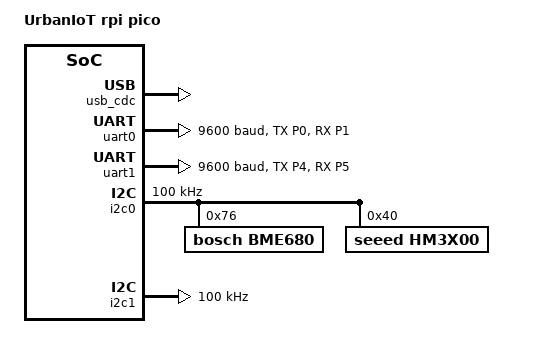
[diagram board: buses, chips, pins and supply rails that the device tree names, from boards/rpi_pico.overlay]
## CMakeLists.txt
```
#-------------------------------------------------------------------------------
# UrbanIoT Zephyr firmware
#
# SPDX-License-Identifier: Apache-2.0

cmake_minimum_required(VERSION 3.20.0)

set(BOARD rpi_pico)

find_package(Zephyr REQUIRED HINTS $ENV{ZEPHYR_BASE})

project(app LANGUAGES C VERSION 1.0.0)

configure_file(app_version.h.in ${CMAKE_BINARY_DIR}/app/include/app_version.h)
target_include_directories(app PRIVATE ${CMAKE_BINARY_DIR}/app/include src)

add_subdirectory(src/lora)
add_subdirectory(src/gps)

file(GLOB app_src src/*.c)
target_sources(app PRIVATE ${app_src})
```

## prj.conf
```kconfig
# SPDX-License-Identifier: Apache-2.0
#
# This file contains selected Kconfig options for the application.

# Logging
CONFIG_LOG=y
CONFIG_CONSOLE=y

# Set custom app log level
CONFIG_APP_LOG_LEVEL_DBG=y

# Debugger
# CONFIG_DEBUG=y
# CONFIG_THREAD_MONITOR=y
# CONFIG_DEBUG_THREAD_INFO=y
# CONFIG_THREAD_STACK_INFO=y
# CONFIG_DEBUG_OPTIMIZATIONS=y

# GPIO
CONFIG_GPIO=y

# Sensors
CONFIG_SENSOR=y
CONFIG_I2C=y

CONFIG_SERIAL=y
CONFIG_UART_INTERRUPT_DRIVEN=y

CONFIG_MINMEA=y

CONFIG_HEAP_MEM_POOL_SIZE=256
```

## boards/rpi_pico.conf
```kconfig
# SPDX-License-Identifier: Apache-2.0

# Enable USB stack
CONFIG_USB_DEVICE_STACK=y

# Enable USB Initialize at boot
CONFIG_USB_DEVICE_INITIALIZE_AT_BOOT=y

# USB device descriptors
CONFIG_USB_DEVICE_VID=0x2e8a
CONFIG_USB_DEVICE_PID=0x000a
CONFIG_USB_DEVICE_PRODUCT="Pico"
CONFIG_USB_DEVICE_MANUFACTURER="Raspberry Pi"

# USB configuration descriptors
# To avoid draining the tablet's battery. PicoDRO is designed as a self-powered USB device.
# To do so, D1 is removed from the Raspberry Pi Pico and power is supplied from the VSYS pin.
# That's why, when using the PicoDRO hardware, it should be set as a self-powered USB device.

# Set to "n" for bus-powered devices (powered from the USB host) like the Raspberry Pi Pico.
# Set to "y" for self-powered devices (powered from an external power supply) like PicoDRO hardware.
CONFIG_USB_SELF_POWERED=n

# Depending on your hardware Maximum power consumption needs to be set.
# Set to "125" (250 mA) for the Raspberry Pi Pico (if there is no other external circuitry).
# Set to "1" (2 mA) for the PicoDRO hardware

# Maximum power consumption in 2 mA units
# CONFIG_USB_MAX_POWER=125

# Enable DTR line control for logging when using USB CDC ACM.
CONFIG_UART_LINE_CTRL=y

# Console drivers
CONFIG_CONSOLE=y

# Set USB log level
CONFIG_USB_DRIVER_LOG_LEVEL_ERR=y

# Even before the USB serial port is opened at the host, log messages are pushed to the log buffer, then pushed to the USB CDC ACM ring buffer.
# This causes the ring buffer to overflow, and as a result, it adds a new log message saying the "Ring buffer full, drain buffer".
# It creates an endless loop that reproduces the same log message. This causes connection problems, like preventing the port from opening.
# Ring buffer full, drain buffer" log message still exists even if DTR line control is enabled. That's why we set the log level to error.
# Set USB CDC ACM log level
CONFIG_USB_CDC_ACM_LOG_LEVEL_ERR=y
```

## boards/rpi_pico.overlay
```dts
// SPDX-License-Identifier: Apache-2.0

// #include <zephyr/dt-bindings/gpio/gpio.h>
// #include <zephyr/dt-bindings/i2c/i2c.h>
// #include <zephyr/dt-bindings/led/led.h>
// #include <zephyr/dt-bindings/usb/usb.h>
// #include <zephyr/dt-bindings/pinctrl/rpi-pico-rp2040-pinctrl.h>
//zephyr/dts/bindings/serial/raspberrypi,pico-uart.yaml

/ {
	model = "UrbanIoT rpi pico";
	compatible = "raspberrypi,pico";
	
	chosen {
		zephyr,console = &usb_cdc;
		// zephyr,shell-uart = &usb_cdc;
	};

	aliases {
        gps-uart = &uart0;
        lora-uart = &uart1;
	};
};

&pinctrl {

    uart0_default: uart0_default {
		group1 {
			pinmux = <UART0_TX_P0>;
		};
		group2 {
			pinmux = <UART0_RX_P1>;
			input-enable;
		};
	};

	uart1_default: uart1_default {
		group1 {
			pinmux = <UART1_TX_P4>;
		};
		group2 {
			pinmux = <UART1_RX_P5>;
			input-enable;
		};
	};

    i2c0_default: i2c0_default {
        group1 {
            pinmux = <I2C0_SDA_P8>, <I2C0_SCL_P9>;
            input-enable;
            input-schmitt-enable;
        };
    };

    i2c1_default: i2c1_default {
        group1 {
            pinmux = <I2C1_SDA_P6>, <I2C1_SCL_P7>;
            input-enable;
            input-schmitt-enable;
        };
    };
};

&zephyr_udc0 {
	usb_cdc: usb_cdc_0 {
		compatible = "zephyr,cdc-acm-uart";
	};
};

&uart0 {
    compatible = "raspberrypi,pico-uart";
	current-speed = <9600>;
	status = "okay";
    pinctrl-0 = <&uart0_default>;
    pinctrl-names = "default";
};

&uart1 {
    compatible = "raspberrypi,pico-uart";
	current-speed = <9600>;
	status = "okay";
    pinctrl-0 = <&uart1_default>;
    pinctrl-names = "default";
};

&i2c0 {
    clock-frequency = <I2C_BITRATE_STANDARD>;
	status = "okay";
	pinctrl-0 = <&i2c0_default>;
	pinctrl-names = "default";
	bme680@76 {
		compatible = "bosch,bme680";
		reg = <0x76>;
	};
	hm3x00@40 {
		compatible = "seeed,hm3x00";
		reg = <0x40>;
	};
};

&i2c1 {
    clock-frequency = <I2C_BITRATE_STANDARD>;
	status = "okay";
	pinctrl-0 = <&i2c1_default>;
	pinctrl-names = "default";
};
```

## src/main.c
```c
/*
 * SPDX-License-Identifier: Apache-2.0
 */

#include <zephyr/kernel.h>
#include <zephyr/device.h>
#include <zephyr/drivers/sensor.h>
#include <zephyr/drivers/uart.h>
#include <zephyr/drivers/gpio.h>
#include <zephyr/logging/log.h>

#include <string.h>

#include <minmea/minmea.h>

#include "lora.h"
#include "gps.h"
#include "app_version.h"

LOG_MODULE_REGISTER(main, CONFIG_APP_LOG_LEVEL);

static struct gps_data gps_data = {};
static uint8_t lora_data[30];

const struct device *particle_sensor_dev = DEVICE_DT_GET_ONE(seeed_hm3x00);
struct sensor_value pm1_0, pm2_5, pm10;

const struct device *env_sensor_dev = DEVICE_DT_GET_ONE(bosch_bme680);
struct sensor_value temp, press, humidity, gas_res;

#define CONSOLE_DEVICE DEVICE_DT_GET(DT_CHOSEN(zephyr_console))
#define USB_CDC_ACM_CHECK DT_NODE_HAS_COMPAT(DT_CHOSEN(zephyr_console), zephyr_cdc_acm_uart)

// Status LED
#define STATUS_LED_NODE DT_ALIAS(led0)

#if !DT_NODE_HAS_STATUS(STATUS_LED_NODE, okay)
#error "Unsupported board: led0 devicetree alias is not defined"
#endif

static const struct gpio_dt_spec led = GPIO_DT_SPEC_GET(STATUS_LED_NODE, gpios);

// LoRa device
#define LORA_UART_NODE DT_ALIAS(lora_uart)

#if !DT_NODE_HAS_STATUS(LORA_UART_NODE, okay)
#error "Unsupported board: lora_uart devicetree alias is not defined"
#endif

static const struct device *const lora_uart_dev = DEVICE_DT_GET(LORA_UART_NODE);

// GPS device
#define GPS_UART_NODE DT_ALIAS(gps_uart)

#if !DT_NODE_HAS_STATUS(GPS_UART_NODE, okay)
#error "Unsupported board: gps_uart devicetree alias is not defined"
#endif

static const struct device *const gps_uart_dev = DEVICE_DT_GET(GPS_UART_NODE);

int main(void)
{
#if (IS_ENABLED(USB_CDC_ACM_CHECK) && IS_ENABLED(CONFIG_LOG))
	const struct device *const console_dev = CONSOLE_DEVICE;
	uint32_t dtr_line = 0;

	while (!dtr_line)
	{
		uart_line_ctrl_get(console_dev, UART_LINE_CTRL_DTR, &dtr_line);
		k_sleep(K_MSEC(100));
	}
#endif

	int ret;

	LOG_INF("UrbanIoT firmware %s", APP_VERSION_STR);

	if (!device_is_ready(led.port))
	{
		LOG_ERR("Led0 %s is not ready!", led.port->name);
		return -ENOTSUP;
	}

	ret = gpio_pin_configure_dt(&led, GPIO_OUTPUT_ACTIVE);
	if (ret < 0)
	{
		LOG_ERR("Can't init status led %i!", ret);
		return -ENODEV;
	};

	if (!device_is_ready(env_sensor_dev))
	{
		LOG_ERR("sensor: device not ready.");
		return -ENODEV;
	}

	if (!device_is_ready(particle_sensor_dev))
	{
		LOG_ERR("sensor: device not ready.");
		return -ENODEV;
	}

	if (lora_init(lora_uart_dev) < 0)
	{
		LOG_ERR("Can't init lora device!");
		return -ENODEV;
	}

	lora_join();

	if (gps_init(gps_uart_dev) < 0)
	{
		LOG_ERR("Can't init gps device!");
		return -ENODEV;
	}

	// if (!device_is_ready(particle_sensor_dev))
	// {
	// 	LOG_ERR("particle sensor: device not ready.");
	// 	return -ENODEV;
	// }

	while (1)
	{
		LOG_INF("Hello World, from Zephyr! %s", CONFIG_BOARD);
		ret = gpio_pin_toggle_dt(&led);

		if (sensor_sample_fetch(env_sensor_dev) == 0)
		{
			sensor_channel_get(env_sensor_dev, SENSOR_CHAN_AMBIENT_TEMP, &temp);
			sensor_channel_get(env_sensor_dev, SENSOR_CHAN_PRESS, &press);
			sensor_channel_get(env_sensor_dev, SENSOR_CHAN_HUMIDITY, &humidity);
			sensor_channel_get(env_sensor_dev, SENSOR_CHAN_GAS_RES, &gas_res);

			LOG_INF("T: %d.%06d°C P: %d.%06dkPa H: %d.%06d% G: %d.%06dohm",
					temp.val1, temp.val2,
					press.val1, press.val2,
					humidity.val1, humidity.val2,
					gas_res.val1, gas_res.val2);
		}
		else
		{
			LOG_ERR("Cant get data from env_sensor_dev");
		}

		if (sensor_sample_fetch(particle_sensor_dev) == 0)
		{
			sensor_channel_get(particle_sensor_dev, SENSOR_CHAN_PM_1_0, &pm1_0);
			sensor_channel_get(particle_sensor_dev, SENSOR_CHAN_PM_2_5, &pm2_5);
			sensor_channel_get(particle_sensor_dev, SENSOR_CHAN_PM_10, &pm10);

			LOG_INF("PM 1.0: %d.%06dug/m3 PM 2.5: %d.%06dug/m3 PM 10: %d.%06d%ug/m3",
					pm1_0.val1, pm1_0.val2,
					pm2_5.val1, pm2_5.val2,
					pm10.val1, pm10.val2);
		}
		else
		{
			LOG_ERR("Cant get data from particle_sensor_dev");
		}

		gps_get_data(&gps_data);

		lora_data[0] = 0x00;
		// lora_data[0] |= 1 << 0; // UV index sensor
		lora_data[0] |= 1 << 1; // Temperature sensor
		lora_data[0] |= 0 << 2; // Pressure sensor
		lora_data[0] |= 1 << 3; // Humidity sensor
		// lora_data[0] |= 0 << 4; // IAQ sensor
		lora_data[0] |= 1 << 5; // dust/particle sensor
		// lora_data[0] |= 0 << 6; // not defined
		// lora_data[0] |= 0 << 7; // not defined

		lora_data[1] = 0x00; // not defined
		lora_data[2] = 0x00; // not defined

		// Battery
		lora_data[3] = 0x00;

		uint32_t latitudeBinary = ((gps_data.lat + 90) / 180) * 16777215;
		lora_data[4] = (latitudeBinary >> 16) & 0xFF;
		lora_data[5] = (latitudeBinary >> 8) & 0xFF;
		lora_data[6] = latitudeBinary & 0xFF;

		uint32_t longitudeBinary = ((gps_data.lng + 180) / 360) * 16777215;
		lora_data[7] = (longitudeBinary >> 16) & 0xFF;
		lora_data[8] = (longitudeBinary >> 8) & 0xFF;
		lora_data[9] = longitudeBinary & 0xFF;

		uint16_t speedKmhGps = gps_data.speed;
		lora_data[14] = (speedKmhGps >> 8) & 0xFF;
		lora_data[15] = speedKmhGps & 0xFF;

		lora_data[18] = temp.val1 & 0xFF;
		lora_data[19] = (press.val1 >> 8) & 0xFF;
		lora_data[20] = press.val1 & 0xFF;
		lora_data[21] = humidity.val1 & 0xFF;

		lora_data[24] = (pm1_0.val1 >> 8) & 0xFF;
		lora_data[25] = pm1_0.val1 & 0xFF;
		lora_data[26] = (pm2_5.val1 >> 8) & 0xFF;
		lora_data[27] = pm2_5.val1 & 0xFF;
		lora_data[28] = (pm10.val1 >> 8) & 0xFF;
		lora_data[29] = pm10.val1 & 0xFF;

		lora_senddata(&lora_data[0], sizeof(lora_data));

		k_sleep(K_SECONDS(10));
	}

	return 0;
}
```
